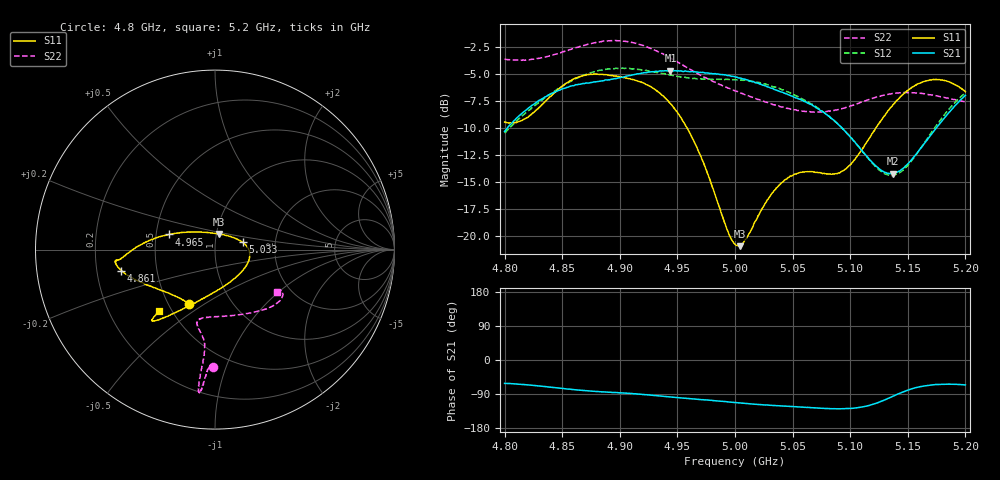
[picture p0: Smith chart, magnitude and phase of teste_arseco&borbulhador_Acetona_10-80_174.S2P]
! Network Analyzer HP8722D
! Hewlett-Packard
! Data name: Linha & Wilkinson
! Saver's name: Rodrigo Anjos
! Comments: Teste da utilização de aquisição
! continua pelo VNA HP8722D
! Time and date: 17/4/2025 15:48
!  Frequency  S11  S21  S12  S22
# HZ  S  MA R 50
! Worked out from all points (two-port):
!   401 points, 4.8 GHz to 5.2 GHz, reference 50 ohm
!   highest |S21| = -4.71 dB at 4.944 GHz (marker M1); lowest = -14.3 dB at 5.137 GHz (marker M2)
!   |S21| within 3 dB of the highest: 4.827 GHz to 5.063 GHz (236.1 MHz wide, 4.77 % of centre); 5.193305 GHz to end of sweep
!   lowest |S11| = -21.0 dB at 5.004 GHz (marker M3), VSWR 1.20, Z = 51.3 + j8.98 ohm
!   |S11| at or under -10 dB: 4.958 GHz to 5.122 GHz (164.1 MHz wide, 3.26 % of centre)
!   |S22| runs from -8.6 to -1.9 dB; largest |S21 - S12| = 0.87
!   S11 on the Smith chart (normalised r, x): 4.8 GHz: 0.63, -0.43; 4.861 GHz: 0.31, -0.10; 4.965 GHz: 0.59, +0.11; 5.033 GHz: 1.36, +0.12; 5.2 GHz: 0.43, -0.37
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4.8e9  0.3354 -115.3  0.3041 -61.7  0.2986 -175.8  0.6564 -90.9
4.819e9  0.3514 -135.5  0.3828 -65.4  0.3722 -175.0  0.6527 -92.4
4.861e9  0.5354 -167.4  0.4976 -78.5  0.532 -178.5  0.7397 -94.9
4.867e9  0.5491 -169.7  0.5052 -80.2  0.5486 -179.6  0.7571 -95.1
4.9e9  0.5451 -173.9  0.539 -86.6  0.5941 174.2  0.799 -96.4
4.934e9  0.4607 -179.8  0.5775 -94.8  0.5687 170.7  0.707 -96.7
4.944e9  0.4092 175.7  0.5815 -97.6  0.5551 170.9  0.6653 -96.4
4.965e9  0.2689 161.7  0.5745 -103.0  0.5352 172.7  0.5742 -95.9
4.993e9  0.107 116.5  0.5524 -110.2  0.5294 174.9  0.4856 -98.3
5e9  0.09109 92.4  0.5438 -112.2  0.5285 175.0  0.4685 -99.8
5.004e9  0.08925 76.8  0.5371 -113.1  0.5253 175.0  0.4601 -100.5
5.033e9  0.1591 15.2  0.4794 -119.8  0.4885 173.5  0.4044 -103.4
5.049e9  0.1885 -0.7  0.4432 -122.7  0.4552 173.1  0.3853 -99.4
5.067e9  0.1977 -19.8  0.4026 -125.8  0.4061 172.8  0.3738 -89.4
5.085e9  0.1927 -48.3  0.3453 -128.7  0.3456 173.1  0.3798 -75.6
5.096e9  0.2033 -70.5  0.3022 -128.5  0.3033 174.6  0.3919 -66.8
5.121e9  0.3069 -109.1  0.2128 -115.9  0.2115 -170.6  0.4353 -49.6
5.134e9  0.3849 -119.3  0.1937 -99.9  0.1901 -152.9  0.4524 -43.2
5.137e9  0.4023 -121.0  0.1937 -95.8  0.1903 -148.1  0.4553 -41.9
5.15e9  0.4705 -126.6  0.2147 -79.6  0.2115 -129.3  0.4596 -37.2
5.17e9  0.5268 -131.0  0.2922 -65.9  0.2977 -112.2  0.449 -32.7
5.2e9  0.4643 -132.1  0.4465 -65.8  0.4584 -107.8  0.4164 -34.3
